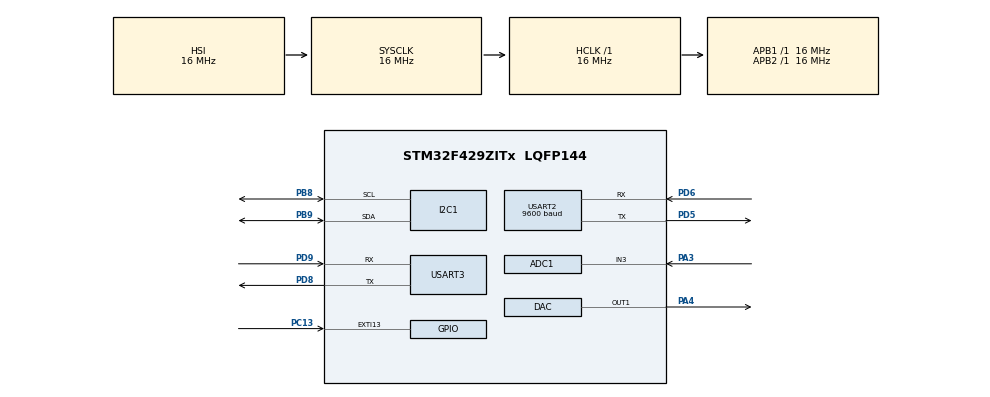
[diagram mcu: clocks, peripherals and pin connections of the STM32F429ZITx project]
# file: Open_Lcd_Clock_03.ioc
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ADC1.Channel-0\#ChannelRegularConversion=ADC_CHANNEL_3
ADC1.NbrOfConversionFlag=1
ADC1.Rank-0\#ChannelRegularConversion=1
ADC1.SamplingTime-0\#ChannelRegularConversion=ADC_SAMPLETIME_3CYCLES
ADC1.master=1
Mcu.Family=STM32F4
Mcu.Name=STM32F429ZITx
Mcu.Package=LQFP144
NVIC.EXTI15_10_IRQn=true\:0\:0\:false\:false\:true\:true\:true
NVIC.PriorityGroup=NVIC_PRIORITYGROUP_4
NVIC.TIM3_IRQn=true\:0\:0\:false\:false\:true\:true\:true
NVIC.USART2_IRQn=true\:0\:0\:false\:false\:true\:true\:true
NVIC.USART3_IRQn=true\:0\:0\:false\:false\:true\:true\:true
PA3.Signal=ADCx_IN3
PA4.Signal=COMP_DAC1_group
PB8.Mode=I2C
PB8.Signal=I2C1_SCL
PB9.Mode=I2C
PB9.Signal=I2C1_SDA
PC13.GPIO_ModeDefaultEXTI=GPIO_MODE_IT_RISING_FALLING
PC13.Signal=GPXTI13
PD5.Mode=Asynchronous
PD5.Signal=USART2_TX
PD6.Mode=Asynchronous
PD6.Signal=USART2_RX
PD8.Mode=Asynchronous
PD8.Signal=USART3_TX
PD9.Mode=Asynchronous
PD9.Signal=USART3_RX
ProjectManager.HeapSize=0x200
ProjectManager.StackSize=0x400
ProjectManager.TargetToolchain=STM32CubeIDE
RCC.AHBFreq_Value=16000000
RCC.APB1Freq_Value=16000000
RCC.APB2Freq_Value=16000000
RCC.CortexFreq_Value=16000000
RCC.HSE_VALUE=25000000
RCC.HSI_VALUE=16000000
RCC.LSE_VALUE=32768
RCC.SYSCLKFreq_VALUE=16000000
RCC.VCOOutputFreq_Value=192000000
SH.ADCx_IN3.0=ADC1_IN3,IN3
SH.COMP_DAC1_group.0=DAC_OUT1,DAC_OUT1
TIM3.Period=9999
TIM3.Prescaler=15
USART2.BaudRate=9600
USART2.VirtualMode=VM_ASYNC
USART3.VirtualMode=VM_ASYNC
VP_TIM3_VS_ClockSourceINT.Mode=Internal
board=custom

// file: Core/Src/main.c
/* USER CODE BEGIN Header */
/**
  ******************************************************************************
  * @file           : main.c
  * @brief          : Main program body
  ******************************************************************************
  * @attention
  *
  * <h2><center>&copy; Copyright (c) 2021 STMicroelectronics.
  * All rights reserved.</center></h2>
  *
  * This software component is licensed by ST under BSD 3-Clause license,
  * the "License"; You may not use this file except in compliance with the
  * License. You may obtain a copy of the License at:
  *                        opensource.org/licenses/BSD-3-Clause
  *
  ******************************************************************************
  */
/* USER CODE END Header */
#include "main.h"

/* USER CODE BEGIN Includes */
#include "lcd.h"
/* USER CODE END Includes */

ADC_HandleTypeDef hadc1;

DAC_HandleTypeDef hdac;

I2C_HandleTypeDef hi2c1;

TIM_HandleTypeDef htim3;

UART_HandleTypeDef huart2;
UART_HandleTypeDef huart3;

void SystemClock_Config(void);
static void MX_GPIO_Init(void);
static void MX_ADC1_Init(void);
static void MX_I2C1_Init(void);
static void MX_TIM3_Init(void);
static void MX_USART2_UART_Init(void);
static void MX_USART3_UART_Init(void);
static void MX_DAC_Init(void);
/* USER CODE BEGIN PFP */
//extern
extern uint8_t rx_d;
extern uint8_t BT_buffer[10];
typedef struct {
  int8_t hours;
  int8_t minutes;
  int8_t seconds;
}TimeTypeDef;
extern  TimeTypeDef ctime;  // current time
extern  TimeTypeDef atime;  // alarm time
void init_all()
{
	  HAL_I2C_Init(&hi2c1);
	  LCD_Init(LCD_ADDR);
	  HAL_TIM_Base_Init(&htim3);
	  HAL_TIM_Base_Start_IT(&htim3);
	  HAL_ADC_Init(&hadc1);
	  HAL_ADC_Start(&hadc1);
	  HAL_UART_Receive_IT(&huart3, &rx_d, 1);
	  HAL_UART_Receive_IT(&huart2, BT_buffer, 1);
}
/* USER CODE END PFP */

int main(void)
{

  /* MCU Configuration--------------------------------------------------------*/

  /* Reset of all peripherals, Initializes the Flash interface and the Systick. */
  HAL_Init();

  /* Configure the system clock */
  SystemClock_Config();

  /* Initialize all configured peripherals */
  MX_GPIO_Init();
  MX_ADC1_Init();
  MX_I2C1_Init();
  MX_TIM3_Init();
  MX_USART2_UART_Init();
  MX_USART3_UART_Init();
  MX_DAC_Init();
  /* USER CODE BEGIN 2 */
  init_all();
  load_nvitems();
  /* USER CODE END 2 */

  /* Infinite loop */
  /* USER CODE BEGIN WHILE */
  while (1)
  {
	  if((ctime.hours == atime.hours)&&(ctime.minutes == atime.minutes)&&(ctime.seconds == atime.seconds))
	  {
		  music_0();
	  }
    /* USER CODE END WHILE */

  }
}

void SystemClock_Config(void)
{
  RCC_OscInitTypeDef RCC_OscInitStruct = {0};
  RCC_ClkInitTypeDef RCC_ClkInitStruct = {0};

  /** Configure the main internal regulator output voltage
  */
  __HAL_RCC_PWR_CLK_ENABLE();
  __HAL_PWR_VOLTAGESCALING_CONFIG(PWR_REGULATOR_VOLTAGE_SCALE3);
  /** Initializes the RCC Oscillators according to the specified parameters
  * in the RCC_OscInitTypeDef structure.
  */
  RCC_OscInitStruct.OscillatorType = RCC_OSCILLATORTYPE_HSI;
  RCC_OscInitStruct.HSIState = RCC_HSI_ON;
  RCC_OscInitStruct.HSICalibrationValue = RCC_HSICALIBRATION_DEFAULT;
  RCC_OscInitStruct.PLL.PLLState = RCC_PLL_NONE;
  if (HAL_RCC_OscConfig(&RCC_OscInitStruct) != HAL_OK)
  {
    Error_Handler();
  }
  /** Initializes the CPU, AHB and APB buses clocks
  */
  RCC_ClkInitStruct.ClockType = RCC_CLOCKTYPE_HCLK|RCC_CLOCKTYPE_SYSCLK
                              |RCC_CLOCKTYPE_PCLK1|RCC_CLOCKTYPE_PCLK2;
  RCC_ClkInitStruct.SYSCLKSource = RCC_SYSCLKSOURCE_HSI;
  RCC_ClkInitStruct.AHBCLKDivider = RCC_SYSCLK_DIV1;
  RCC_ClkInitStruct.APB1CLKDivider = RCC_HCLK_DIV1;
  RCC_ClkInitStruct.APB2CLKDivider = RCC_HCLK_DIV1;

  if (HAL_RCC_ClockConfig(&RCC_ClkInitStruct, FLASH_LATENCY_0) != HAL_OK)
  {
    Error_Handler();
  }
}

static void MX_ADC1_Init(void)
{

  ADC_ChannelConfTypeDef sConfig = {0};

  /** Configure the global features of the ADC (Clock, Resolution, Data Alignment and number of conversion)
  */
  hadc1.Instance = ADC1;
  hadc1.Init.ClockPrescaler = ADC_CLOCK_SYNC_PCLK_DIV2;
  hadc1.Init.Resolution = ADC_RESOLUTION_12B;
  hadc1.Init.ScanConvMode = DISABLE;
  hadc1.Init.ContinuousConvMode = DISABLE;
  hadc1.Init.DiscontinuousConvMode = DISABLE;
  hadc1.Init.ExternalTrigConvEdge = ADC_EXTERNALTRIGCONVEDGE_NONE;
  hadc1.Init.ExternalTrigConv = ADC_SOFTWARE_START;
  hadc1.Init.DataAlign = ADC_DATAALIGN_RIGHT;
  hadc1.Init.NbrOfConversion = 1;
  hadc1.Init.DMAContinuousRequests = DISABLE;
  hadc1.Init.EOCSelection = ADC_EOC_SINGLE_CONV;
  if (HAL_ADC_Init(&hadc1) != HAL_OK)
  {
    Error_Handler();
  }
  /** Configure for the selected ADC regular channel its corresponding rank in the sequencer and its sample time.
  */
  sConfig.Channel = ADC_CHANNEL_3;
  sConfig.Rank = 1;
  sConfig.SamplingTime = ADC_SAMPLETIME_3CYCLES;
  if (HAL_ADC_ConfigChannel(&hadc1, &sConfig) != HAL_OK)
  {
    Error_Handler();
  }

}

static void MX_DAC_Init(void)
{

  DAC_ChannelConfTypeDef sConfig = {0};

  /** DAC Initialization
  */
  hdac.Instance = DAC;
  if (HAL_DAC_Init(&hdac) != HAL_OK)
  {
    Error_Handler();
  }
  /** DAC channel OUT1 config
  */
  sConfig.DAC_Trigger = DAC_TRIGGER_NONE;
  sConfig.DAC_OutputBuffer = DAC_OUTPUTBUFFER_ENABLE;
  if (HAL_DAC_ConfigChannel(&hdac, &sConfig, DAC_CHANNEL_1) != HAL_OK)
  {
    Error_Handler();
  }

}

static void MX_I2C1_Init(void)
{

  hi2c1.Instance = I2C1;
  hi2c1.Init.ClockSpeed = 100000;
  hi2c1.Init.DutyCycle = I2C_DUTYCYCLE_2;
  hi2c1.Init.OwnAddress1 = 0;
  hi2c1.Init.AddressingMode = I2C_ADDRESSINGMODE_7BIT;
  hi2c1.Init.DualAddressMode = I2C_DUALADDRESS_DISABLE;
  hi2c1.Init.OwnAddress2 = 0;
  hi2c1.Init.GeneralCallMode = I2C_GENERALCALL_DISABLE;
  hi2c1.Init.NoStretchMode = I2C_NOSTRETCH_DISABLE;
  if (HAL_I2C_Init(&hi2c1) != HAL_OK)
  {
    Error_Handler();
  }
  /** Configure Analogue filter
  */
  if (HAL_I2CEx_ConfigAnalogFilter(&hi2c1, I2C_ANALOGFILTER_ENABLE) != HAL_OK)
  {
    Error_Handler();
  }
  /** Configure Digital filter
  */
  if (HAL_I2CEx_ConfigDigitalFilter(&hi2c1, 0) != HAL_OK)
  {
    Error_Handler();
  }

}

static void MX_TIM3_Init(void)
{

  TIM_ClockConfigTypeDef sClockSourceConfig = {0};
  TIM_MasterConfigTypeDef sMasterConfig = {0};

  htim3.Instance = TIM3;
  htim3.Init.Prescaler = 15;
  htim3.Init.CounterMode = TIM_COUNTERMODE_UP;
  htim3.Init.Period = 9999;
  htim3.Init.ClockDivision = TIM_CLOCKDIVISION_DIV1;
  htim3.Init.AutoReloadPreload = TIM_AUTORELOAD_PRELOAD_DISABLE;
  if (HAL_TIM_Base_Init(&htim3) != HAL_OK)
  {
    Error_Handler();
  }
  sClockSourceConfig.ClockSource = TIM_CLOCKSOURCE_INTERNAL;
  if (HAL_TIM_ConfigClockSource(&htim3, &sClockSourceConfig) != HAL_OK)
  {
    Error_Handler();
  }
  sMasterConfig.MasterOutputTrigger = TIM_TRGO_RESET;
  sMasterConfig.MasterSlaveMode = TIM_MASTERSLAVEMODE_DISABLE;
  if (HAL_TIMEx_MasterConfigSynchronization(&htim3, &sMasterConfig) != HAL_OK)
  {
    Error_Handler();
  }

}

static void MX_USART2_UART_Init(void)
{

  huart2.Instance = USART2;
  huart2.Init.BaudRate = 9600;
  huart2.Init.WordLength = UART_WORDLENGTH_8B;
  huart2.Init.StopBits = UART_STOPBITS_1;
  huart2.Init.Parity = UART_PARITY_NONE;
  huart2.Init.Mode = UART_MODE_TX_RX;
  huart2.Init.HwFlowCtl = UART_HWCONTROL_NONE;
  huart2.Init.OverSampling = UART_OVERSAMPLING_16;
  if (HAL_UART_Init(&huart2) != HAL_OK)
  {
    Error_Handler();
  }

}

static void MX_USART3_UART_Init(void)
{

  huart3.Instance = USART3;
  huart3.Init.BaudRate = 115200;
  huart3.Init.WordLength = UART_WORDLENGTH_8B;
  huart3.Init.StopBits = UART_STOPBITS_1;
  huart3.Init.Parity = UART_PARITY_NONE;
  huart3.Init.Mode = UART_MODE_TX_RX;
  huart3.Init.HwFlowCtl = UART_HWCONTROL_NONE;
  huart3.Init.OverSampling = UART_OVERSAMPLING_16;
  if (HAL_UART_Init(&huart3) != HAL_OK)
  {
    Error_Handler();
  }

}

static void MX_GPIO_Init(void)
{
  GPIO_InitTypeDef GPIO_InitStruct = {0};

  /* GPIO Ports Clock Enable */
  __HAL_RCC_GPIOC_CLK_ENABLE();
  __HAL_RCC_GPIOA_CLK_ENABLE();
  __HAL_RCC_GPIOD_CLK_ENABLE();
  __HAL_RCC_GPIOB_CLK_ENABLE();

  /*Configure GPIO pin : PC13 */
  GPIO_InitStruct.Pin = GPIO_PIN_13;
  GPIO_InitStruct.Mode = GPIO_MODE_IT_RISING_FALLING;
  GPIO_InitStruct.Pull = GPIO_NOPULL;
  HAL_GPIO_Init(GPIOC, &GPIO_InitStruct);

  /* EXTI interrupt init*/
  HAL_NVIC_SetPriority(EXTI15_10_IRQn, 0, 0);
  HAL_NVIC_EnableIRQ(EXTI15_10_IRQn);

}

void Error_Handler(void)
{
  __disable_irq();
  while (1)
  {
  }
}

/************************ (C) COPYRIGHT STMicroelectronics *****END OF FILE****/
